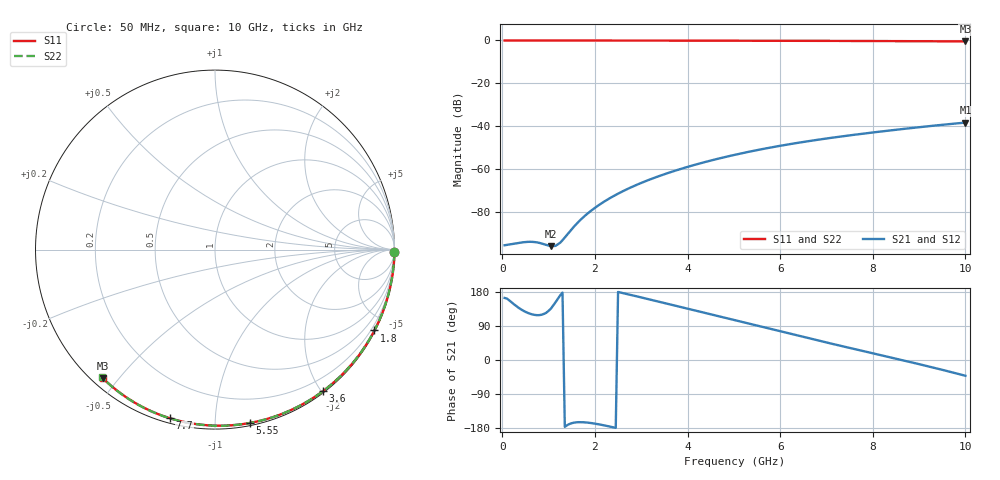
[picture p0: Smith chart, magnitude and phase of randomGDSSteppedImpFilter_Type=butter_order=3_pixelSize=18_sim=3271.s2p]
! freq	dB(S11)	phase(S11)	dB(S12)	phase(S12)
!  dB(S21)	phase(S21)	dB(S22)	phase(S22)
!S-par simulation data
#  GHz  S  DB  R 50
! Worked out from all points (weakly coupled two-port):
!   200 points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, 50 MHz to 10 GHz, reference 50 ohm
!   highest |S21| = -38.26 dB at 10 GHz (marker M1); lowest = -95.8 dB at 1.05 GHz (marker M2)
!   lowest |S11| = -0.4 dB at 10 GHz (marker M3), VSWR 39.54, Z = 1.52 - j22.7 ohm
!   |S11| at or under -10 dB: nowhere
!   |S22| runs from -0.4 to 0.0 dB; largest |S21 - S12| = 0
!   S11 on the Smith chart (normalised r, x): 50 MHz: open; 1.8 GHz: 0.04, -4.18; 3.6 GHz: 0.02, -2.02; 5.55 GHz: 0.02, -1.22; 7.7 GHz: 0.02, -0.77; 10 GHz: 0.03, -0.45
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0.05  -0.00 -0.8  -95.37 163.8  -95.37 163.8  -0.00 -0.8
0.55  -0.01 -8.3  -93.79 124.3  -93.79 124.3  -0.01 -8.3
1.05  -0.02 -15.8  -95.80 135.6  -95.80 135.6  -0.02 -15.9
1.75  -0.03 -26.1  -82.31 -164.3  -82.31 -164.3  -0.03 -26.2
1.8  -0.03 -26.9  -81.35 -164.7  -81.35 -164.7  -0.03 -27.0
1.85  -0.04 -27.6  -80.45 -165.3  -80.45 -165.3  -0.04 -27.7
1.9  -0.04 -28.3  -79.58 -166.1  -79.58 -166.1  -0.04 -28.5
2.05  -0.04 -30.5  -77.18 -169.0  -77.18 -169.0  -0.04 -30.6
2.25  -0.04 -33.4  -74.37 -173.8  -74.37 -173.8  -0.04 -33.6
2.65  -0.05 -39.2  -69.71 175.3  -69.71 175.3  -0.05 -39.3
3  -0.06 -44.2  -66.34 165.1  -66.34 165.1  -0.06 -44.3
3.4  -0.07 -49.8  -63.04 153.3  -63.04 153.3  -0.07 -50.0
3.6  -0.07 -52.6  -61.57 147.4  -61.57 147.4  -0.07 -52.8
4.3  -0.09 -62.1  -57.06 126.5  -57.06 126.5  -0.09 -62.3
5.05  -0.11 -72.1  -53.11 104.1  -53.11 104.1  -0.11 -72.3
5.55  -0.13 -78.5  -50.86 89.1  -50.86 89.1  -0.13 -78.8
6.1  -0.15 -85.5  -48.68 72.7  -48.68 72.7  -0.15 -85.8
6.7  -0.18 -92.9  -46.60 55.0  -46.60 55.0  -0.18 -93.2
7.7  -0.24 -104.9  -43.65 26.2  -43.65 26.2  -0.24 -105.2
8.35  -0.29 -112.4  -41.96 7.7  -41.96 7.7  -0.29 -112.8
9.15  -0.36 -121.6  -40.05 -15.4  -40.05 -15.4  -0.36 -122.0
10  -0.44 -131.2  -38.26 -41.6  -38.26 -41.6  -0.45 -131.6
